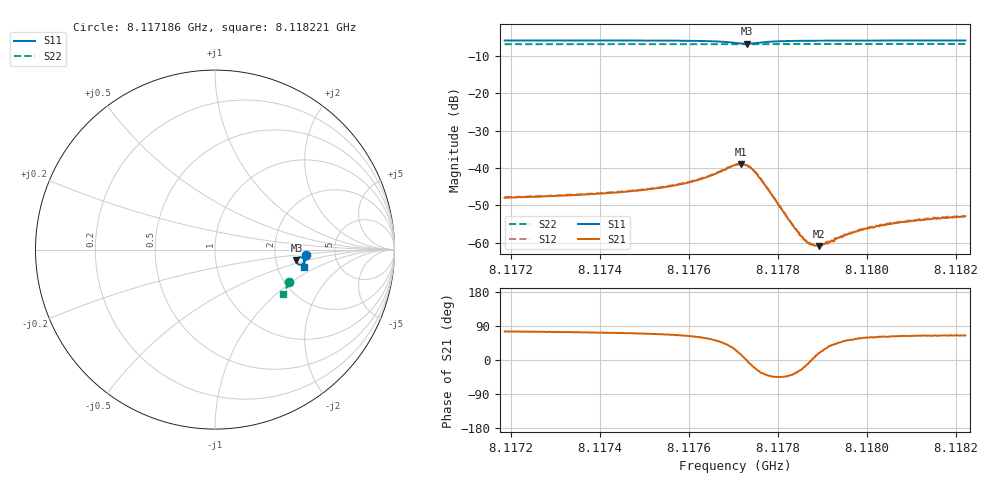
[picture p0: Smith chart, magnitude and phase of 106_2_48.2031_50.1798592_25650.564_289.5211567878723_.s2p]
#  HZ  S  RI  R  50.00
! Rohde & Schwarz Vector Network Analyzer
! Rohde-Schwarz,ZNB20-2Port,1311601062101988,3.16
! Created: UTC 3/20/2024, 11:40:48 AM
! freq[Hz]  re:S11  im:S11  re:S21  im:S21  re:S12  im:S12  re:S22  im:S22
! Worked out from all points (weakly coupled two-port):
!   401 points, 8.117186 GHz to 8.118221 GHz, reference 50 ohm
!   highest |S21| = -38.90 dB at 8.117716 GHz (marker M1); lowest = -60.9 dB at 8.117892 GHz (marker M2)
!   lowest |S11| = -6.8 dB at 8.117729 GHz (marker M3), VSWR 2.69, Z = 131 - j20 ohm
!   |S11| at or under -10 dB: nowhere
!   |S22| runs from -6.9 to -6.9 dB; largest |S21 - S12| = 0.00037
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8.1171857e9  0.5047 -0.0315  0.00101 0.00388  0.00109 0.00395  0.413 -0.1816
8.1173591e9  0.5031 -0.0461  0.00131 0.00422  0.00137 0.00426  0.4083 -0.193
8.117442e9  0.5019 -0.0538  0.00151 0.00447  0.00161 0.00457  0.4061 -0.1984
8.1175326e9  0.4995 -0.0632  0.00204 0.00504  0.00208 0.00512  0.4033 -0.2042
8.1175844e9  0.4968 -0.0699  0.00261 0.00554  0.00272 0.00561  0.4017 -0.2079
8.1176232e9  0.4928 -0.0758  0.00347 0.00609  0.00362 0.00618  0.4003 -0.21
8.1176542e9  0.4867 -0.0812  0.00482 0.00654  0.005 0.00663  0.3991 -0.2122
8.1177034e9  0.463 -0.0812  0.00977 0.0051  0.00989 0.00486  0.3966 -0.2149
8.1177164e9  0.4557 -0.0729  0.0109 0.00299  0.011 0.0028  0.3961 -0.2151
8.1177293e9  0.4536 -0.0604  0.0109 -5.57e-05  0.0111 -0.000217  0.3957 -0.2154
8.1177449e9  0.4609 -0.0472  0.0089 -0.00287  0.00903 -0.00313  0.3957 -0.2157
8.1177578e9  0.4706 -0.0426  0.00647 -0.00367  0.00669 -0.00397  0.3958 -0.2166
8.1178355e9  0.4959 -0.0573  0.00133 -0.000979  0.00135 -0.000988  0.3945 -0.222
8.1178562e9  0.4972 -0.0613  0.00108 -0.000433  0.00108 -0.000453  0.3939 -0.2233
8.1178665e9  0.4976 -0.0631  0.000994 -0.0002  0.00103 -0.000167  0.3935 -0.2241
8.1178769e9  0.4979 -0.0648  0.000946 2.72e-05  0.00097 1.21e-05  0.3931 -0.2248
8.1178924e9  0.4983 -0.067  0.00086 0.000282  0.000909 0.000251  0.3928 -0.2257
8.1179002e9  0.4984 -0.0681  0.00088 0.000391  0.000833 0.000395  0.3926 -0.2263
8.1179804e9  0.4983 -0.0777  0.000799 0.00123  0.000863 0.00119  0.3898 -0.2315
8.1180503e9  0.4977 -0.0845  0.000838 0.00158  0.000853 0.00162  0.3875 -0.2359
8.1181461e9  0.4963 -0.0928  0.000923 0.00188  0.000953 0.00191  0.3842 -0.2417
8.1182212e9  0.4952 -0.0991  0.000977 0.00205  0.000965 0.00207  0.3816 -0.2463
